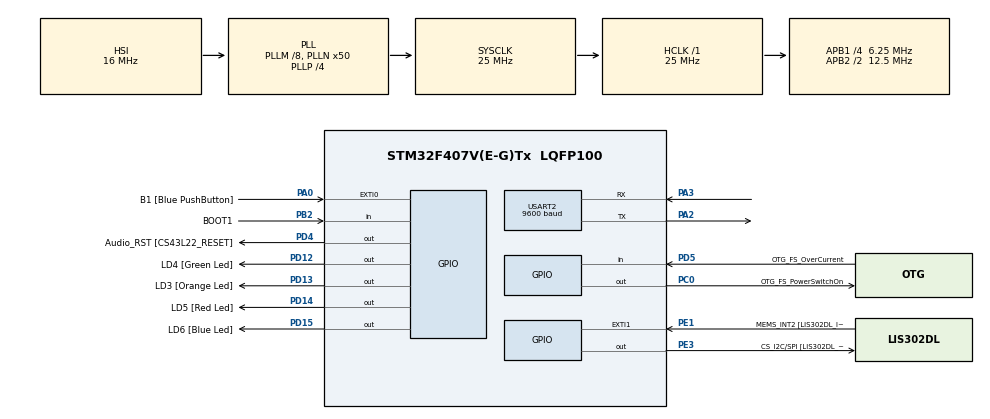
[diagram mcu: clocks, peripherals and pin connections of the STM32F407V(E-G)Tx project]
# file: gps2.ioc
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Mcu.Family=STM32F4
Mcu.Name=STM32F407V(E-G)Tx
Mcu.Package=LQFP100
NVIC.PriorityGroup=NVIC_PRIORITYGROUP_0
NVIC.USART2_IRQn=true\:0\:0\:false\:false\:true\:true\:true
PA0-WKUP.GPIO_Label=B1 [Blue PushButton]
PA0-WKUP.Signal=GPXTI0
PA10.GPIO_Label=OTG_FS_ID
PA10.GPIO_Mode=GPIO_MODE_AF_PP
PA10.GPIO_PuPd=GPIO_NOPULL
PA10.GPIO_Speed=GPIO_SPEED_FREQ_LOW
PA10.Signal=USB_OTG_FS_ID
PA11.GPIO_Label=OTG_FS_DM
PA11.GPIO_Mode=GPIO_MODE_AF_PP
PA11.GPIO_PuPd=GPIO_NOPULL
PA11.GPIO_Speed=GPIO_SPEED_FREQ_LOW
PA11.Signal=USB_OTG_FS_DM
PA12.GPIO_Label=OTG_FS_DP
PA12.GPIO_Mode=GPIO_MODE_AF_PP
PA12.GPIO_PuPd=GPIO_NOPULL
PA12.GPIO_Speed=GPIO_SPEED_FREQ_LOW
PA12.Signal=USB_OTG_FS_DP
PA13.GPIO_Label=SWDIO
PA13.Signal=SYS_JTMS-SWDIO
PA14.GPIO_Label=SWCLK
PA14.Signal=SYS_JTCK-SWCLK
PA2.Mode=Asynchronous
PA2.Signal=USART2_TX
PA3.Mode=Asynchronous
PA3.Signal=USART2_RX
PA4.GPIO_Label=I2S3_WS [CS43L22_LRCK]
PA4.GPIO_Mode=GPIO_MODE_AF_PP
PA4.GPIO_PuPd=GPIO_NOPULL
PA4.GPIO_Speed=GPIO_SPEED_FREQ_LOW
PA4.Signal=I2S3_WS
PA5.GPIO_Label=SPI1_SCK [LIS302DL_SCL/SPC]
PA5.GPIO_Mode=GPIO_MODE_AF_PP
PA5.GPIO_PuPd=GPIO_NOPULL
PA5.GPIO_Speed=GPIO_SPEED_FREQ_LOW
PA5.Signal=SPI1_SCK
PA6.GPIO_Label=SPI1_MISO [LIS302DL_SDO]
PA6.GPIO_Mode=GPIO_MODE_AF_PP
PA6.GPIO_PuPd=GPIO_NOPULL
PA6.GPIO_Speed=GPIO_SPEED_FREQ_LOW
PA6.Signal=SPI1_MISO
PA7.GPIO_Label=SPI1_MOSI [LIS302DL_SDA/SDI/SDO]
PA7.GPIO_Mode=GPIO_MODE_AF_PP
PA7.GPIO_PuPd=GPIO_NOPULL
PA7.GPIO_Speed=GPIO_SPEED_FREQ_LOW
PA7.Signal=SPI1_MOSI
PA9.GPIO_Label=VBUS_FS
PA9.GPIO_Mode=GPIO_MODE_INPUT
PA9.GPIO_PuPd=GPIO_NOPULL
PA9.Signal=USB_OTG_FS_VBUS
PB10.GPIO_Label=CLK_IN [MP45DT02_CLK]
PB10.GPIO_Mode=GPIO_MODE_AF_PP
PB10.GPIO_PuPd=GPIO_NOPULL
PB10.GPIO_Speed=GPIO_SPEED_FREQ_LOW
PB10.Signal=I2S2_CK
PB2.GPIO_Label=BOOT1
PB2.GPIO_Mode=GPIO_MODE_INPUT
PB2.GPIO_PuPd=GPIO_NOPULL
PB2.Signal=GPIO_Input
PB3.GPIO_Label=SWO
PB3.Signal=SYS_JTDO-SWO
PB6.GPIO_Label=Audio_SCL [CS43L22_SCL]
PB6.GPIO_Mode=GPIO_MODE_AF_OD
PB6.GPIO_PuPd=GPIO_NOPULL
PB6.GPIO_Speed=GPIO_SPEED_FREQ_LOW
PB6.Signal=I2C1_SCL
PB9.GPIO_Label=Audio_SDA [CS43L22_SDA]
PB9.GPIO_Mode=GPIO_MODE_AF_OD
PB9.GPIO_PuPd=GPIO_NOPULL
PB9.GPIO_Speed=GPIO_SPEED_FREQ_LOW
PB9.Signal=I2C1_SDA
PC0.GPIO_Label=OTG_FS_PowerSwitchOn
PC0.GPIO_PuPd=GPIO_NOPULL
PC0.GPIO_Speed=GPIO_SPEED_FREQ_LOW
PC0.PinState=GPIO_PIN_SET
PC0.Signal=GPIO_Output
PC10.GPIO_Label=I2S3_SCK [CS43L22_SCLK]
PC10.GPIO_Mode=GPIO_MODE_AF_PP
PC10.GPIO_PuPd=GPIO_NOPULL
PC10.GPIO_Speed=GPIO_SPEED_FREQ_LOW
PC10.Signal=I2S3_CK
PC12.GPIO_Label=I2S3_SD [CS43L22_SDIN]
PC12.GPIO_Mode=GPIO_MODE_AF_PP
PC12.GPIO_PuPd=GPIO_NOPULL
PC12.GPIO_Speed=GPIO_SPEED_FREQ_LOW
PC12.Signal=I2S3_SD
PC14-OSC32_IN.GPIO_Label=PC14-OSC32_IN
PC14-OSC32_IN.Signal=RCC_OSC32_IN
PC15-OSC32_OUT.GPIO_Label=PC15-OSC32_OUT
PC15-OSC32_OUT.Signal=RCC_OSC32_OUT
PC3.GPIO_Label=PDM_OUT [MP45DT02_DOUT]
PC3.GPIO_Mode=GPIO_MODE_AF_PP
PC3.GPIO_PuPd=GPIO_NOPULL
PC3.GPIO_Speed=GPIO_SPEED_FREQ_LOW
PC3.Signal=I2S2_SD
PC7.GPIO_Label=I2S3_MCK [CS43L22_MCLK]
PC7.GPIO_Mode=GPIO_MODE_AF_PP
PC7.GPIO_PuPd=GPIO_NOPULL
PC7.GPIO_Speed=GPIO_SPEED_FREQ_LOW
PC7.Signal=I2S3_MCK
PD12.GPIO_Label=LD4 [Green Led]
PD12.GPIO_PuPd=GPIO_NOPULL
PD12.GPIO_Speed=GPIO_SPEED_FREQ_LOW
PD12.Signal=GPIO_Output
PD13.GPIO_Label=LD3 [Orange Led]
PD13.GPIO_PuPd=GPIO_NOPULL
PD13.GPIO_Speed=GPIO_SPEED_FREQ_LOW
PD13.Signal=GPIO_Output
PD14.GPIO_Label=LD5 [Red Led]
PD14.GPIO_PuPd=GPIO_NOPULL
PD14.GPIO_Speed=GPIO_SPEED_FREQ_LOW
PD14.Signal=GPIO_Output
PD15.GPIO_Label=LD6 [Blue Led]
PD15.GPIO_PuPd=GPIO_NOPULL
PD15.GPIO_Speed=GPIO_SPEED_FREQ_LOW
PD15.Signal=GPIO_Output
PD4.GPIO_Label=Audio_RST [CS43L22_RESET]
PD4.GPIO_PuPd=GPIO_NOPULL
PD4.GPIO_Speed=GPIO_SPEED_FREQ_LOW
PD4.Signal=GPIO_Output
PD5.GPIO_Label=OTG_FS_OverCurrent
PD5.GPIO_Mode=GPIO_MODE_INPUT
PD5.GPIO_PuPd=GPIO_NOPULL
PD5.Signal=GPIO_Input
PE1.GPIO_Label=MEMS_INT2 [LIS302DL_INT2]
PE1.GPIO_ModeDefaultEXTI=GPIO_MODE_EVT_RISING
PE1.GPIO_PuPd=GPIO_NOPULL
PE1.Signal=GPXTI1
PE3.GPIO_Label=CS_I2C/SPI [LIS302DL_CS_I2C/SPI]
PE3.GPIO_PuPd=GPIO_NOPULL
PE3.GPIO_Speed=GPIO_SPEED_FREQ_LOW
PE3.Signal=GPIO_Output
PH0-OSC_IN.GPIO_Label=PH0-OSC_IN
PH0-OSC_IN.Signal=RCC_OSC_IN
PH1-OSC_OUT.GPIO_Label=PH1-OSC_OUT
PH1-OSC_OUT.Signal=RCC_OSC_OUT
ProjectManager.HeapSize=0x200
ProjectManager.StackSize=0x400
ProjectManager.TargetToolchain=MDK-ARM V5.27
RCC.48MHZClocksFreq_Value=14285714.285714285
RCC.AHBFreq_Value=25000000
RCC.APB1CLKDivider=RCC_HCLK_DIV4
RCC.APB1Freq_Value=6250000
RCC.APB1TimFreq_Value=12500000
RCC.APB2CLKDivider=RCC_HCLK_DIV2
RCC.APB2Freq_Value=12500000
RCC.APB2TimFreq_Value=25000000
RCC.CortexFreq_Value=25000000
RCC.HCLKFreq_Value=25000000
RCC.HSE_VALUE=8000000
RCC.HSI_VALUE=16000000
RCC.LSE_VALUE=32768
RCC.PLLM=8
RCC.PLLN=50
RCC.PLLP=RCC_PLLP_DIV4
RCC.PLLQ=7
RCC.SYSCLKFreq_VALUE=25000000
RCC.SYSCLKSource=RCC_SYSCLKSOURCE_PLLCLK
RCC.VCOOutputFreq_Value=100000000
USART2.BaudRate=9600
USART2.VirtualMode=VM_ASYNC
board=STM32F407G-DISC1

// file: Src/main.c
/**
  ******************************************************************************
  * File Name          : main.c
  * Description        : Main program body
  ******************************************************************************
  *
  * COPYRIGHT(c) 2017 STMicroelectronics
  *
  * Redistribution and use in source and binary forms, with or without modification,
  * are permitted provided that the following conditions are met:
  *   1. Redistributions of source code must retain the above copyright notice,
  *      this list of conditions and the following disclaimer.
  *   2. Redistributions in binary form must reproduce the above copyright notice,
  *      this list of conditions and the following disclaimer in the documentation
  *      and/or other materials provided with the distribution.
  *   3. Neither the name of STMicroelectronics nor the names of its contributors
  *      may be used to endorse or promote products derived from this software
  *      without specific prior written permission.
  *
  * THIS SOFTWARE IS PROVIDED BY THE COPYRIGHT HOLDERS AND CONTRIBUTORS "AS IS"
  * AND ANY EXPRESS OR IMPLIED WARRANTIES, INCLUDING, BUT NOT LIMITED TO, THE
  * IMPLIED WARRANTIES OF MERCHANTABILITY AND FITNESS FOR A PARTICULAR PURPOSE ARE
  * DISCLAIMED. IN NO EVENT SHALL THE COPYRIGHT HOLDER OR CONTRIBUTORS BE LIABLE
  * FOR ANY DIRECT, INDIRECT, INCIDENTAL, SPECIAL, EXEMPLARY, OR CONSEQUENTIAL
  * DAMAGES (INCLUDING, BUT NOT LIMITED TO, PROCUREMENT OF SUBSTITUTE GOODS OR
  * SERVICES; LOSS OF USE, DATA, OR PROFITS; OR BUSINESS INTERRUPTION) HOWEVER
  * CAUSED AND ON ANY THEORY OF LIABILITY, WHETHER IN CONTRACT, STRICT LIABILITY,
  * OR TORT (INCLUDING NEGLIGENCE OR OTHERWISE) ARISING IN ANY WAY OUT OF THE USE
  * OF THIS SOFTWARE, EVEN IF ADVISED OF THE POSSIBILITY OF SUCH DAMAGE.
  *
  ******************************************************************************
  */
#include "main.h"
#include "stm32f4xx_hal.h"
#include <stdio.h>
#include <string.h>
#include <stdlib.h>

UART_HandleTypeDef huart2;

/* USER CODE BEGIN PV */
/* Private variables ---------------------------------------------------------*/

/* USER CODE END PV */

void SystemClock_Config(void);
void Error_Handler(void);
static void MX_GPIO_Init(void);
static void MX_USART2_UART_Init(void);
void RST_BUFFER(void);
double nmea2dec(char*);
typedef enum {
  sim808_ON,
  sim808_SLP
}sim808state;
typedef enum {
  NO_TRANS=0,
  GPS_ON_OFF=0x01,
  GPS_OFF_ON=0x02
}sim808Transition;
uint8_t bufferRx_GSM[500];
char* location;
int i=0,j=0;

/* USER CODE BEGIN PFP */
/* Private function prototypes -----------------------------------------------*/

/* USER CODE END PFP */

int main(void)
{

  /* MCU Configuration----------------------------------------------------------*/

  /* Reset of all peripherals, Initializes the Flash interface and the Systick. */
  HAL_Init();

  /* Configure the system clock */
  SystemClock_Config();

  /* Initialize all configured peripherals */
  MX_GPIO_Init();
  MX_USART2_UART_Init();

  /* Infinite loop */
  /* USER CODE BEGIN WHILE */
   HAL_Delay(4000);
   RST_BUFFER();
  while (1)
  {
    //AT
    do{
      RST_BUFFER();
      HAL_UART_Transmit_IT(&huart2, (uint8_t *) "AT\r",sizeof("AT\r"));
      HAL_Delay(1000);
      }while(strcmp((char*)bufferRx_GSM,"\r\nOK\r\n")!=0);
   //AT+CGPSPWR=1
    RST_BUFFER();
   do{
      RST_BUFFER();
      HAL_UART_Transmit_IT(&huart2, (uint8_t *) "AT+CGPSPWR=1\r",sizeof("AT+CGPSPWR=1\r"));
      HAL_Delay(1000);
      }while(strcmp((char*)bufferRx_GSM,"\r\nOK\r\n")!=0);

   //AT+CGPSRST=0
   do{
      RST_BUFFER();
      HAL_UART_Transmit_IT(&huart2, (uint8_t *) "AT+CGPSRST=0\r",sizeof("AT+CGPSRST=0\r"));
      HAL_Delay(1000);
      }while(strcmp((char*)bufferRx_GSM,"\r\nOK\r\n")!=0);

  //AT+CGPSSTATUS? wait for the gps to get to 3D Fix   (location unknown -> 2D fix -> 3D fix)
   do{
      RST_BUFFER();
       HAL_UART_Transmit_IT(&huart2, (uint8_t *) "AT+CGPSSTATUS?\r",sizeof("AT+CGPSSTATUS?\r"));
      HAL_Delay(5000);
   }while(strcmp((char*)bufferRx_GSM,"\r\n+CGPSSTATUS: Location 2D Fix\r\n\r\nOK\r\n")!=0);

   //AT+CGPSINF=2

      RST_BUFFER();
      HAL_UART_Transmit_IT(&huart2, (uint8_t *) "AT+CGPSINF=2\r",sizeof("AT+CGPSINF=2\r"));
      location = (char*)bufferRx_GSM ;
      char *lon;
      char *lat;
      strcpy(lon,strtok(location, ","));
      strcpy(lat,strtok(location, ","));
      double longtitude =nmea2dec(lon);
      int len = snprintf(NULL, 0, "%f", longtitude);
      char *flon= (char *) malloc(sizeof(char)*(len+1));
      snprintf(flon, len, "%f", longtitude);
      double lattitude =nmea2dec(lat);
      int len2 = snprintf(NULL, 0, "%f", lattitude);
      char *flat= (char *) malloc(sizeof(char)*(len2+1));
      snprintf(flat, len2, "%f", lattitude);
      HAL_Delay(2000);

   //AT+CSQ

      RST_BUFFER();
      HAL_UART_Transmit_IT(&huart2, (uint8_t *) "AT+CSQ\r",sizeof("AT+CSQ\r"));
      HAL_Delay(2000);

   //AT+SAPBR=1,1
   do{
      RST_BUFFER();
      HAL_UART_Transmit_IT(&huart2, (uint8_t *) "AT+SAPBR=1,1\r",sizeof("AT+SAPBR=1,1\r"));
      HAL_Delay(2000);
      }while(strcmp((char*)bufferRx_GSM,"\r\nOK\r\n")!=0);
      HAL_Delay(2000);

   //AT+HTTPINIT
   do{
      RST_BUFFER();
      HAL_UART_Transmit_IT(&huart2, (uint8_t *) "AT+HTTPINIT\r",sizeof("AT+HTTPINIT\r"));
      HAL_Delay(2000);
      }while(strcmp((char*)bufferRx_GSM,"\r\nOK\r\n")!=0);
      HAL_Delay(2000);
   char tosend[100];
   strcpy(tosend,"AT+HTTPPARA=\"URL\",\"vps268495.ovh.net/insert.php?lon=");
   strcat(tosend,flon);
   strcat(tosend,"&lat=");
   strcat(tosend,flat);
   strcat(tosend,"\"\r");

   //AT+HTTPPARA=?
   do{
      RST_BUFFER();
      HAL_UART_Transmit_IT(&huart2, (uint8_t *) tosend,sizeof(tosend));
      HAL_Delay(2000);
      }while(strcmp((char*)bufferRx_GSM,"\r\nOK\r\n")!=0);
      HAL_Delay(2000);

  //AT+HTTPACTION=0
   do{
      RST_BUFFER();
      HAL_UART_Transmit_IT(&huart2, (uint8_t *) "AT+HTTPACTION=0\r",sizeof("AT+HTTPACTION=0\r"));
      HAL_Delay(2000);
      }while(strcmp((char*)bufferRx_GSM,"\r\nOK\r\n")!=0);
      HAL_Delay(2000);

  }
  /* USER CODE END 3 */

  /* USER CODE END 3 */

}

/** System Clock Configuration
*/
void SystemClock_Config(void)
{

  RCC_OscInitTypeDef RCC_OscInitStruct;
  RCC_ClkInitTypeDef RCC_ClkInitStruct;

    /**Configure the main internal regulator output voltage
    */
  __HAL_RCC_PWR_CLK_ENABLE();

  __HAL_PWR_VOLTAGESCALING_CONFIG(PWR_REGULATOR_VOLTAGE_SCALE1);

    /**Initializes the CPU, AHB and APB busses clocks
    */
  RCC_OscInitStruct.OscillatorType = RCC_OSCILLATORTYPE_HSI;
  RCC_OscInitStruct.HSIState = RCC_HSI_ON;
  RCC_OscInitStruct.HSICalibrationValue = 16;
  RCC_OscInitStruct.PLL.PLLState = RCC_PLL_ON;
  RCC_OscInitStruct.PLL.PLLSource = RCC_PLLSOURCE_HSI;
  RCC_OscInitStruct.PLL.PLLM = 8;
  RCC_OscInitStruct.PLL.PLLN = 50;
  RCC_OscInitStruct.PLL.PLLP = RCC_PLLP_DIV4;
  RCC_OscInitStruct.PLL.PLLQ = 7;
  if (HAL_RCC_OscConfig(&RCC_OscInitStruct) != HAL_OK)
  {
    Error_Handler();
  }

    /**Initializes the CPU, AHB and APB busses clocks
    */
  RCC_ClkInitStruct.ClockType = RCC_CLOCKTYPE_HCLK|RCC_CLOCKTYPE_SYSCLK
                              |RCC_CLOCKTYPE_PCLK1|RCC_CLOCKTYPE_PCLK2;
  RCC_ClkInitStruct.SYSCLKSource = RCC_SYSCLKSOURCE_PLLCLK;
  RCC_ClkInitStruct.AHBCLKDivider = RCC_SYSCLK_DIV1;
  RCC_ClkInitStruct.APB1CLKDivider = RCC_HCLK_DIV4;
  RCC_ClkInitStruct.APB2CLKDivider = RCC_HCLK_DIV2;

  if (HAL_RCC_ClockConfig(&RCC_ClkInitStruct, FLASH_LATENCY_0) != HAL_OK)
  {
    Error_Handler();
  }

    /**Configure the Systick interrupt time
    */
  HAL_SYSTICK_Config(HAL_RCC_GetHCLKFreq()/1000);

    /**Configure the Systick
    */
  HAL_SYSTICK_CLKSourceConfig(SYSTICK_CLKSOURCE_HCLK);

  /* SysTick_IRQn interrupt configuration */
  HAL_NVIC_SetPriority(SysTick_IRQn, 0, 0);
}

/* USART2 init function */
static void MX_USART2_UART_Init(void)
{

  huart2.Instance = USART2;
  huart2.Init.BaudRate = 9600;
  huart2.Init.WordLength = UART_WORDLENGTH_8B;
  huart2.Init.StopBits = UART_STOPBITS_1;
  huart2.Init.Parity = UART_PARITY_NONE;
  huart2.Init.Mode = UART_MODE_TX_RX;
  huart2.Init.HwFlowCtl = UART_HWCONTROL_NONE;
  huart2.Init.OverSampling = UART_OVERSAMPLING_16;
  if (HAL_UART_Init(&huart2) != HAL_OK)
  {
    Error_Handler();
  }

}

/** Configure pins as
        * Analog
        * Input
        * Output
        * EVENT_OUT
        * EXTI
     PC3   ------> I2S2_SD
     PA4   ------> I2S3_WS
     PA5   ------> SPI1_SCK
     PA6   ------> SPI1_MISO
     PA7   ------> SPI1_MOSI
     PB10   ------> I2S2_CK
     PC7   ------> I2S3_MCK
     PA9   ------> USB_OTG_FS_VBUS
     PA10   ------> USB_OTG_FS_ID
     PA11   ------> USB_OTG_FS_DM
     PA12   ------> USB_OTG_FS_DP
     PC10   ------> I2S3_CK
     PC12   ------> I2S3_SD
     PB6   ------> I2C1_SCL
     PB9   ------> I2C1_SDA
*/
static void MX_GPIO_Init(void)
{

  GPIO_InitTypeDef GPIO_InitStruct;

  /* GPIO Ports Clock Enable */
  __HAL_RCC_GPIOE_CLK_ENABLE();
  __HAL_RCC_GPIOC_CLK_ENABLE();
  __HAL_RCC_GPIOH_CLK_ENABLE();
  __HAL_RCC_GPIOA_CLK_ENABLE();
  __HAL_RCC_GPIOB_CLK_ENABLE();
  __HAL_RCC_GPIOD_CLK_ENABLE();

  /*Configure GPIO pin Output Level */
  HAL_GPIO_WritePin(CS_I2C_SPI_GPIO_Port, CS_I2C_SPI_Pin, GPIO_PIN_RESET);

  /*Configure GPIO pin Output Level */
  HAL_GPIO_WritePin(OTG_FS_PowerSwitchOn_GPIO_Port, OTG_FS_PowerSwitchOn_Pin, GPIO_PIN_SET);

  /*Configure GPIO pin Output Level */
  HAL_GPIO_WritePin(GPIOD, LD4_Pin|LD3_Pin|LD5_Pin|LD6_Pin
                          |Audio_RST_Pin, GPIO_PIN_RESET);

  /*Configure GPIO pin : CS_I2C_SPI_Pin */
  GPIO_InitStruct.Pin = CS_I2C_SPI_Pin;
  GPIO_InitStruct.Mode = GPIO_MODE_OUTPUT_PP;
  GPIO_InitStruct.Pull = GPIO_NOPULL;
  GPIO_InitStruct.Speed = GPIO_SPEED_FREQ_LOW;
  HAL_GPIO_Init(CS_I2C_SPI_GPIO_Port, &GPIO_InitStruct);

  /*Configure GPIO pin : OTG_FS_PowerSwitchOn_Pin */
  GPIO_InitStruct.Pin = OTG_FS_PowerSwitchOn_Pin;
  GPIO_InitStruct.Mode = GPIO_MODE_OUTPUT_PP;
  GPIO_InitStruct.Pull = GPIO_NOPULL;
  GPIO_InitStruct.Speed = GPIO_SPEED_FREQ_LOW;
  HAL_GPIO_Init(OTG_FS_PowerSwitchOn_GPIO_Port, &GPIO_InitStruct);

  /*Configure GPIO pin : PDM_OUT_Pin */
  GPIO_InitStruct.Pin = PDM_OUT_Pin;
  GPIO_InitStruct.Mode = GPIO_MODE_AF_PP;
  GPIO_InitStruct.Pull = GPIO_NOPULL;
  GPIO_InitStruct.Speed = GPIO_SPEED_FREQ_LOW;
  GPIO_InitStruct.Alternate = GPIO_AF5_SPI2;
  HAL_GPIO_Init(PDM_OUT_GPIO_Port, &GPIO_InitStruct);

  /*Configure GPIO pin : B1_Pin */
  GPIO_InitStruct.Pin = B1_Pin;
  GPIO_InitStruct.Mode = GPIO_MODE_IT_RISING;
  GPIO_InitStruct.Pull = GPIO_NOPULL;
  HAL_GPIO_Init(B1_GPIO_Port, &GPIO_InitStruct);

  /*Configure GPIO pin : I2S3_WS_Pin */
  GPIO_InitStruct.Pin = I2S3_WS_Pin;
  GPIO_InitStruct.Mode = GPIO_MODE_AF_PP;
  GPIO_InitStruct.Pull = GPIO_NOPULL;
  GPIO_InitStruct.Speed = GPIO_SPEED_FREQ_LOW;
  GPIO_InitStruct.Alternate = GPIO_AF6_SPI3;
  HAL_GPIO_Init(I2S3_WS_GPIO_Port, &GPIO_InitStruct);

  /*Configure GPIO pins : SPI1_SCK_Pin SPI1_MISO_Pin SPI1_MOSI_Pin */
  GPIO_InitStruct.Pin = SPI1_SCK_Pin|SPI1_MISO_Pin|SPI1_MOSI_Pin;
  GPIO_InitStruct.Mode = GPIO_MODE_AF_PP;
  GPIO_InitStruct.Pull = GPIO_NOPULL;
  GPIO_InitStruct.Speed = GPIO_SPEED_FREQ_LOW;
  GPIO_InitStruct.Alternate = GPIO_AF5_SPI1;
  HAL_GPIO_Init(GPIOA, &GPIO_InitStruct);

  /*Configure GPIO pin : BOOT1_Pin */
  GPIO_InitStruct.Pin = BOOT1_Pin;
  GPIO_InitStruct.Mode = GPIO_MODE_INPUT;
  GPIO_InitStruct.Pull = GPIO_NOPULL;
  HAL_GPIO_Init(BOOT1_GPIO_Port, &GPIO_InitStruct);

  /*Configure GPIO pin : CLK_IN_Pin */
  GPIO_InitStruct.Pin = CLK_IN_Pin;
  GPIO_InitStruct.Mode = GPIO_MODE_AF_PP;
  GPIO_InitStruct.Pull = GPIO_NOPULL;
  GPIO_InitStruct.Speed = GPIO_SPEED_FREQ_LOW;
  GPIO_InitStruct.Alternate = GPIO_AF5_SPI2;
  HAL_GPIO_Init(CLK_IN_GPIO_Port, &GPIO_InitStruct);

  /*Configure GPIO pins : LD4_Pin LD3_Pin LD5_Pin LD6_Pin
                           Audio_RST_Pin */
  GPIO_InitStruct.Pin = LD4_Pin|LD3_Pin|LD5_Pin|LD6_Pin
                          |Audio_RST_Pin;
  GPIO_InitStruct.Mode = GPIO_MODE_OUTPUT_PP;
  GPIO_InitStruct.Pull = GPIO_NOPULL;
  GPIO_InitStruct.Speed = GPIO_SPEED_FREQ_LOW;
  HAL_GPIO_Init(GPIOD, &GPIO_InitStruct);

  /*Configure GPIO pins : I2S3_MCK_Pin I2S3_SCK_Pin I2S3_SD_Pin */
  GPIO_InitStruct.Pin = I2S3_MCK_Pin|I2S3_SCK_Pin|I2S3_SD_Pin;
  GPIO_InitStruct.Mode = GPIO_MODE_AF_PP;
  GPIO_InitStruct.Pull = GPIO_NOPULL;
  GPIO_InitStruct.Speed = GPIO_SPEED_FREQ_LOW;
  GPIO_InitStruct.Alternate = GPIO_AF6_SPI3;
  HAL_GPIO_Init(GPIOC, &GPIO_InitStruct);

  /*Configure GPIO pin : VBUS_FS_Pin */
  GPIO_InitStruct.Pin = VBUS_FS_Pin;
  GPIO_InitStruct.Mode = GPIO_MODE_INPUT;
  GPIO_InitStruct.Pull = GPIO_NOPULL;
  HAL_GPIO_Init(VBUS_FS_GPIO_Port, &GPIO_InitStruct);

  /*Configure GPIO pins : OTG_FS_ID_Pin OTG_FS_DM_Pin OTG_FS_DP_Pin */
  GPIO_InitStruct.Pin = OTG_FS_ID_Pin|OTG_FS_DM_Pin|OTG_FS_DP_Pin;
  GPIO_InitStruct.Mode = GPIO_MODE_AF_PP;
  GPIO_InitStruct.Pull = GPIO_NOPULL;
  GPIO_InitStruct.Speed = GPIO_SPEED_FREQ_LOW;
  GPIO_InitStruct.Alternate = GPIO_AF10_OTG_FS;
  HAL_GPIO_Init(GPIOA, &GPIO_InitStruct);

  /*Configure GPIO pin : OTG_FS_OverCurrent_Pin */
  GPIO_InitStruct.Pin = OTG_FS_OverCurrent_Pin;
  GPIO_InitStruct.Mode = GPIO_MODE_INPUT;
  GPIO_InitStruct.Pull = GPIO_NOPULL;
  HAL_GPIO_Init(OTG_FS_OverCurrent_GPIO_Port, &GPIO_InitStruct);

  /*Configure GPIO pins : Audio_SCL_Pin Audio_SDA_Pin */
  GPIO_InitStruct.Pin = Audio_SCL_Pin|Audio_SDA_Pin;
  GPIO_InitStruct.Mode = GPIO_MODE_AF_OD;
  GPIO_InitStruct.Pull = GPIO_PULLUP;
  GPIO_InitStruct.Speed = GPIO_SPEED_FREQ_LOW;
  GPIO_InitStruct.Alternate = GPIO_AF4_I2C1;
  HAL_GPIO_Init(GPIOB, &GPIO_InitStruct);

  /*Configure GPIO pin : MEMS_INT2_Pin */
  GPIO_InitStruct.Pin = MEMS_INT2_Pin;
  GPIO_InitStruct.Mode = GPIO_MODE_EVT_RISING;
  GPIO_InitStruct.Pull = GPIO_NOPULL;
  HAL_GPIO_Init(MEMS_INT2_GPIO_Port, &GPIO_InitStruct);

}

/* USER CODE BEGIN 4 */
void RST_BUFFER(void)
{
  huart2.pRxBuffPtr=bufferRx_GSM;
  memset( (char*)bufferRx_GSM, '\0', sizeof(bufferRx_GSM));
}

double nmea2dec(char *nmea)
{
    int idx, dot = 0;
    double dec = 0;
    for (idx=0; idx<strlen(nmea);idx++){
        if (nmea[idx] == '.'){
            dot = idx;
            break;
        }
    }

    if (dot < 3)
        return 0;

    int dd;
    double mm;
    char cdd[5], cmm[10];
    memset(&cdd, 0, 5);
    memset(&cmm, 0, 10);
    strncpy(cdd, nmea, dot-2);
    strcpy(cmm, nmea+dot-2);
    dd = atoi(cdd);
    mm = atof(cmm);

    dec = dd + (mm/60);

    return dec;

}
/* USER CODE END 4 */

void Error_Handler(void)
{
  while(1)
  {
  }
}

/************************ (C) COPYRIGHT STMicroelectronics *****END OF FILE****/
